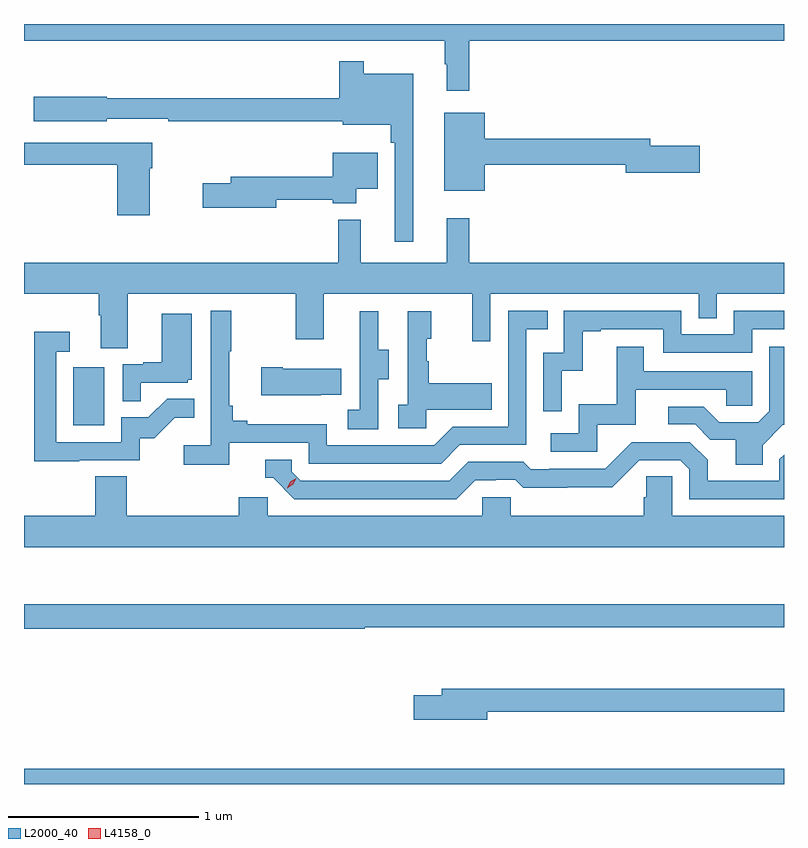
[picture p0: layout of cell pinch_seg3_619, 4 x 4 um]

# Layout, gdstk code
import gdstk
lib = gdstk.Library(unit=1e-6, precision=1e-09)
def R(c, l, rs):  # rectangles x0, y0, x1, y1
    for r in rs: c.add(gdstk.rectangle(r[:2], r[2:], *l))
def P(c, l, *ps):  # polygons
    for p in ps: c.add(gdstk.Polygon(p, *l))
L2000_40 = (2000, 40)
L4158_0 = (4158, 0)

pinch_seg3_619 = lib.new_cell('pinch_seg3_619')
R(pinch_seg3_619, L2000_40, [(1053.062,683.685,1057.062,683.764), (1053.32,685.572,1053.484,685.879)])
P(pinch_seg3_619, L2000_40, [(1055.405,687.596),(1057.062,687.596),(1057.062,687.685),(1053.062,687.685),(1053.062,687.596),(1055.277,687.596),(1055.277,687.473),(1055.288,687.473),(1055.288,687.333),(1055.405,687.333)],
  [(1055.11,687.424),(1054.849,687.424),(1054.849,687.49),(1054.72,687.49),(1054.72,687.295),(1053.498,687.295),(1053.498,687.303),(1053.114,687.303),(1053.114,687.173),(1053.498,687.173),(1053.498,687.186),(1053.82,687.186),(1053.82,687.174),(1054.739,687.174),(1054.739,687.155),(1054.993,687.155),(1054.993,687.059),(1055.013,687.059),(1055.013,686.538),(1055.11,686.538)],
  [(1055.488,686.944),(1056.23,686.944),(1056.23,686.902),(1056.619,686.902),(1056.619,687.044),(1056.358,687.044),(1056.358,687.08),(1055.488,687.08),(1055.488,687.217),(1055.273,687.217),(1055.273,686.807),(1055.488,686.807)],
  [(1053.724,686.927),(1053.737,686.927),(1053.737,687.06),(1053.062,687.06),(1053.062,686.944),(1053.554,686.944),(1053.554,686.679),(1053.724,686.679)],
  [(1054.39,686.76),(1054.688,686.76),(1054.688,686.741),(1054.81,686.741),(1054.81,686.819),(1054.924,686.819),(1054.924,687.007),(1054.688,687.007),(1054.688,686.881),(1054.151,686.881),(1054.151,686.847),(1054.002,686.847),(1054.002,686.717),(1054.39,686.717)],
  [(1053.607,686.264),(1054.492,686.264),(1054.492,686.025),(1054.639,686.025),(1054.639,686.264),(1055.42,686.264),(1055.42,686.016),(1055.517,686.016),(1055.517,686.264),(1056.612,686.264),(1056.612,686.137),(1056.708,686.137),(1056.708,686.264),(1057.062,686.264),(1057.062,686.428),(1055.405,686.428),(1055.405,686.662),(1055.288,686.662),(1055.288,686.428),(1054.835,686.428),(1054.835,686.656),(1054.717,686.656),(1054.717,686.428),(1053.062,686.428),(1053.062,686.264),(1053.455,686.264),(1053.455,686.152),(1053.467,686.152),(1053.467,685.978),(1053.607,685.978)],
  [(1054.142,685.482),(1054.56,685.482),(1054.56,685.371),(1055.257,685.371),(1055.356,685.47),(1055.706,685.47),(1055.706,686.079),(1055.819,686.079),(1055.819,686.175),(1055.61,686.175),(1055.61,685.566),(1055.319,685.566),(1055.22,685.467),(1054.656,685.467),(1054.656,685.579),(1054.237,685.579),(1054.237,685.598),(1054.16,685.598),(1054.16,685.675),(1054.141,685.675),(1054.141,685.963),(1054.153,685.963),(1054.153,686.176),(1054.044,686.176),(1054.044,685.468),(1053.903,685.468),(1053.903,685.366),(1054.142,685.366)],
  [(1055.892,685.859),(1056.002,685.859),(1056.002,686.067),(1056.097,686.067),(1056.097,686.079),(1056.426,686.079),(1056.426,685.956),(1056.894,685.956),(1056.894,686.079),(1057.062,686.079),(1057.062,686.175),(1056.798,686.175),(1056.798,686.052),(1056.522,686.052),(1056.522,686.175),(1055.904,686.175),(1055.904,685.956),(1055.796,685.956),(1055.796,685.647),(1055.892,685.647)],
  [(1054.926,685.816),(1054.981,685.816),(1054.981,685.971),(1054.927,685.971),(1054.927,686.173),(1054.829,686.173),(1054.829,685.959),(1054.83,685.959),(1054.83,685.655),(1054.767,685.655),(1054.767,685.552),(1054.926,685.552)],
  [(1055.178,685.655),(1055.525,685.655),(1055.525,685.795),(1055.191,685.795),(1055.191,685.91),(1055.181,685.91),(1055.181,686.028),(1055.206,686.028),(1055.206,686.173),(1055.082,686.173),(1055.082,685.682),(1055.031,685.682),(1055.031,685.557),(1055.178,685.557)],
  [(1053.677,685.797),(1053.924,685.797),(1053.924,685.812),(1053.946,685.812),(1053.946,686.161),(1053.788,686.161),(1053.788,685.906),(1053.689,685.906),(1053.689,685.893),(1053.582,685.893),(1053.582,685.699),(1053.677,685.699)],
  [(1053.353,685.389),(1053.672,685.389),(1053.672,685.506),(1053.748,685.506),(1053.855,685.613),(1053.959,685.613),(1053.959,685.712),(1053.815,685.712),(1053.717,685.614),(1053.573,685.614),(1053.573,685.485),(1053.231,685.485),(1053.231,685.959),(1053.304,685.959),(1053.304,686.065),(1053.115,686.065),(1053.115,685.384),(1053.353,685.384)],
  [(1056.949,685.468),(1057.056,685.575),(1057.062,685.575),(1057.062,685.987),(1056.984,685.987),(1056.984,685.647),(1056.927,685.59),(1056.721,685.59),(1056.64,685.671),(1056.453,685.671),(1056.453,685.578),(1056.594,685.578),(1056.674,685.498),(1056.809,685.498),(1056.809,685.366),(1056.949,685.366)],
  [(1056.078,685.575),(1056.283,685.575),(1056.283,685.761),(1056.757,685.761),(1056.757,685.677),(1056.894,685.677),(1056.894,685.857),(1056.325,685.857),(1056.325,685.987),(1056.181,685.987),(1056.181,685.684),(1055.982,685.684),(1055.982,685.53),(1055.835,685.53),(1055.835,685.434),(1056.078,685.434)],
  [(1054.625,685.733),(1054.733,685.733),(1054.733,685.87),(1054.423,685.87),(1054.423,685.878),(1054.311,685.878),(1054.311,685.73),(1054.625,685.73)],
  [(1055.437,685.284),(1055.544,685.284),(1055.544,685.287),(1055.647,685.287),(1055.689,685.245),(1055.922,685.245),(1055.922,685.247),(1056.158,685.247),(1056.3,685.389),(1056.516,685.389),(1056.564,685.341),(1056.564,685.185),(1057.062,685.185),(1057.062,685.419),(1057.038,685.395),(1057.038,685.281),(1056.661,685.281),(1056.661,685.391),(1056.567,685.485),(1056.261,685.485),(1056.12,685.344),(1055.827,685.344),(1055.827,685.341),(1055.728,685.341),(1055.689,685.38),(1055.4,685.38),(1055.301,685.281),(1054.518,685.281),(1054.47,685.329),(1054.47,685.392),(1054.331,685.392),(1054.331,685.296),(1054.374,685.296),(1054.485,685.185),(1055.338,685.185)],
  [(1054.193,685.194),(1054.193,685.096),(1053.602,685.096),(1053.602,685.304),(1053.437,685.304),(1053.437,685.096),(1053.062,685.096),(1053.062,684.932),(1057.062,684.932),(1057.062,685.096),(1056.474,685.096),(1056.474,685.304),(1056.337,685.304),(1056.337,685.194),(1056.323,685.194),(1056.323,685.096),(1055.625,685.096),(1055.625,685.194),(1055.475,685.194),(1055.475,685.096),(1054.344,685.096),(1054.344,685.194)],
  [(1054.855,684.51),(1057.062,684.51),(1057.062,684.631),(1053.062,684.631),(1053.062,684.502),(1054.855,684.502)],
  [(1055.5,684.066),(1057.062,684.066),(1057.062,684.187),(1055.261,684.187),(1055.261,684.153),(1055.112,684.153),(1055.112,684.023),(1055.5,684.023)])
P(pinch_seg3_619, L4158_0, [(1054.448,685.242),(1054.448,685.242),(1054.464,685.275),(1054.494,685.295),(1054.495,685.295),(1054.495,685.295),(1054.479,685.262),(1054.448,685.242)])

lib.write_gds('pinch_seg3_619.gds')
